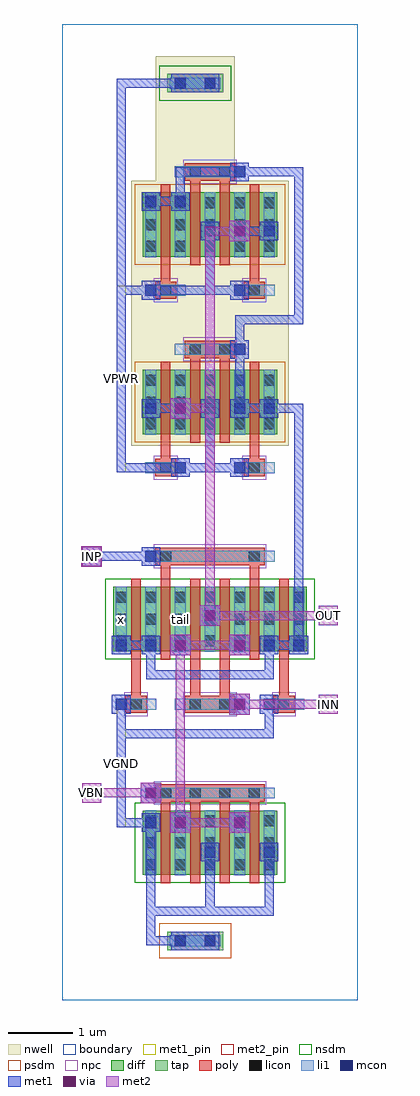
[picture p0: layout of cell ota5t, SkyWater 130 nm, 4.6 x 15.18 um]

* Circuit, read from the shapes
.subckt ota5t INN INP OUT VBN VGND VPWR tail x
XM1 x VGND x VGND sky130_fd_pr__nfet_01v8 w=1 l=0.15 m=2
XM2 tail VBN VGND VGND sky130_fd_pr__nfet_01v8 w=1 l=0.15 m=4
XM3 tail INP x VGND sky130_fd_pr__nfet_01v8 w=1 l=0.15 m=2
XM4 OUT INN tail VGND sky130_fd_pr__nfet_01v8 w=1 l=0.15 m=2
XM5 OUT VPWR OUT VPWR sky130_fd_pr__pfet_01v8 w=1 l=0.15 m=2
XM6 x VPWR x VPWR sky130_fd_pr__pfet_01v8 w=1 l=0.15 m=2
XM7 VPWR x OUT VPWR sky130_fd_pr__pfet_01v8 w=1 l=0.15 m=2
XM8 VPWR x x VPWR sky130_fd_pr__pfet_01v8 w=1 l=0.15 m=2
.ends

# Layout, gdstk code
import gdstk
lib = gdstk.Library(unit=1e-6, precision=1e-09)
def R(c, l, rs):  # rectangles x0, y0, x1, y1
    for r in rs: c.add(gdstk.rectangle(r[:2], r[2:], *l))
def A(c, l, x, y, w, h, nx, ny, dx, dy):  # array of equal rectangles
    R(c, l, [(x+i*dx, y+j*dy, x+i*dx+w, y+j*dy+h) for i in range(nx) for j in range(ny)])
nwell = (64, 20)
diff = (65, 20)
tap = (65, 44)
poly = (66, 20)
licon = (66, 44)
li1 = (67, 20)
mcon = (67, 44)
met1_pin = (68, 16)
met1 = (68, 20)
via = (68, 44)
met2_pin = (69, 16)
met2 = (69, 20)
nsdm = (93, 44)
psdm = (94, 20)
npc = (95, 20)
boundary = (235, 4)

ota5t = lib.new_cell('ota5t')
R(ota5t, nwell, [(1.075,8.62,3.525,12.74), (1.455,12.74,2.685,14.68)])
R(ota5t, diff, [(1.255,1.945,3.345,2.945), (0.795,5.425,3.805,6.425), (1.255,8.8,3.345,9.8), (1.255,11.56,3.345,12.56)])
R(ota5t, tap, [(1.635,0.775,2.505,1.065), (1.635,14.115,2.505,14.405)])
A(ota5t, poly, 1.535, 1.815, 0.15, 1.405, 4, 1, 0.46, 0)
R(ota5t, poly, [(1.445,3.085,3.155,3.355), (0.985,4.465,1.315,4.735), (1.905,4.465,2.695,4.735), (3.285,4.465,3.615,4.735), (1.075,4.6,1.225,6.555), (1.995,4.6,2.145,6.555), (2.455,4.6,2.605,6.555), (3.375,4.6,3.525,6.555), (1.535,5.295,1.685,6.9), (2.915,5.295,3.065,6.9), (1.445,6.765,3.155,7.035), (1.445,8.145,1.775,8.415), (2.825,8.145,3.155,8.415), (1.535,8.28,1.685,9.93), (2.915,8.28,3.065,9.93), (1.995,8.67,2.145,10.12), (2.455,8.67,2.605,10.12), (1.905,9.985,2.695,10.255), (1.445,10.905,1.775,11.175), (2.825,10.905,3.155,11.175), (1.535,11.04,1.685,12.69), (2.915,11.04,3.065,12.69), (1.995,11.43,2.145,12.88), (2.455,11.43,2.605,12.88), (1.905,12.745,2.695,13.015)])
A(ota5t, licon, 1.295, 2.02, 0.17, 0.17, 5, 3, 0.46, 0.34)
A(ota5t, licon, 1.525, 3.135, 0.17, 0.17, 4, 1, 0.46, 0)
A(ota5t, licon, 0.835, 5.5, 0.17, 0.17, 7, 3, 0.46, 0.34)
A(ota5t, licon, 1.295, 8.875, 0.17, 0.17, 5, 3, 0.46, 0.34)
A(ota5t, licon, 1.295, 11.635, 0.17, 0.17, 5, 3, 0.46, 0.34)
R(ota5t, licon, [(1.755,0.835,1.925,1.005), (2.215,0.835,2.385,1.005), (1.065,4.515,1.235,4.685), (1.985,4.515,2.155,4.685), (2.445,4.515,2.615,4.685), (3.365,4.515,3.535,4.685), (1.525,6.815,1.695,6.985), (2.905,6.815,3.075,6.985), (1.525,8.195,1.695,8.365), (2.905,8.195,3.075,8.365), (1.985,10.035,2.155,10.205), (2.445,10.035,2.615,10.205), (1.525,10.955,1.695,11.125), (2.905,10.955,3.075,11.125), (1.985,12.795,2.155,12.965), (2.445,12.795,2.615,12.965), (1.755,14.175,1.925,14.345), (2.215,14.175,2.385,14.345)])
A(ota5t, li1, 1.295, 1.94, 0.17, 1.01, 5, 2, 0.46, 6.855)
A(ota5t, li1, 0.835, 5.42, 0.17, 1.01, 7, 1, 0.46, 0)
A(ota5t, li1, 1.295, 11.555, 0.17, 1.01, 5, 1, 0.46, 0)
R(ota5t, li1, [(1.675,0.835,2.465,1.005), (1.295,3.135,3.305,3.305), (0.835,4.515,1.465,4.685), (1.755,4.515,2.845,4.685), (3.135,4.515,3.765,4.685), (1.295,6.815,3.305,6.985), (1.295,8.195,1.925,8.365), (2.675,8.195,3.305,8.365), (1.755,10.035,2.845,10.205), (1.295,10.955,1.925,11.125), (2.675,10.955,3.305,11.125), (1.755,12.795,2.845,12.965), (1.675,14.175,2.465,14.345)])
A(ota5t, mcon, 0.835, 5.435, 0.17, 0.17, 3, 1, 0.46, 0)
A(ota5t, mcon, 2.675, 5.435, 0.17, 0.17, 3, 1, 0.46, 0)
A(ota5t, mcon, 1.295, 9.115, 0.17, 0.17, 5, 1, 0.46, 0)
A(ota5t, mcon, 2.215, 11.875, 0.17, 0.17, 3, 1, 0.46, 0)
R(ota5t, mcon, [(1.755,0.835,1.925,1.005), (2.215,0.835,2.385,1.005), (2.215,2.215,2.385,2.385), (3.135,2.215,3.305,2.385), (1.295,2.675,1.465,2.845), (1.755,2.675,1.925,2.845), (2.675,2.675,2.845,2.845), (1.295,3.135,1.465,3.305), (0.835,4.515,1.005,4.685), (2.675,4.515,2.845,4.685), (3.135,4.515,3.305,4.685), (2.215,5.895,2.385,6.065), (1.295,6.815,1.465,6.985), (1.755,8.195,1.925,8.365), (2.675,8.195,2.845,8.365), (2.675,10.035,2.845,10.205), (1.295,10.955,1.465,11.125), (2.675,10.955,2.845,11.125), (1.295,12.335,1.465,12.505), (1.755,12.335,1.925,12.505), (2.675,12.795,2.845,12.965), (1.755,14.175,1.925,14.345), (2.215,14.175,2.385,14.345)])
R(ota5t, met1_pin, [(0.85,2.69,0.99,4.67), (0.85,8.21,0.99,11.11)])
A(ota5t, met1, 0.775, 5.375, 0.29, 0.29, 3, 1, 0.46, 0)
A(ota5t, met1, 2.615, 5.375, 0.29, 0.29, 3, 1, 0.46, 0)
A(ota5t, met1, 1.235, 9.055, 0.29, 0.29, 5, 1, 0.46, 0)
A(ota5t, met1, 2.155, 11.815, 0.29, 0.29, 3, 1, 0.46, 0)
R(ota5t, met1, [(1.695,0.775,2.445,1.065), (1.31,0.85,1.45,2.83), (1.31,0.85,1.91,0.99), (1.77,0.85,1.91,0.99), (1.31,1.31,2.37,1.45), (2.23,1.31,3.29,1.45), (2.23,1.31,2.37,2.37), (3.15,1.31,3.29,2.37), (2.155,2.155,2.445,2.445), (3.075,2.155,3.365,2.445), (1.68,2.6,2,2.92), (2.6,2.6,2.92,2.92), (1.235,2.615,1.525,2.905), (1.695,2.615,1.985,2.905), (2.615,2.615,2.905,2.905), (0.85,2.69,0.99,4.67), (0.85,2.69,1.45,2.83), (1.22,3.06,1.54,3.38), (1.235,3.075,1.525,3.365), (0.85,4.07,3.29,4.21), (3.15,4.07,3.29,4.67), (2.6,4.44,2.92,4.76), (0.775,4.455,1.065,4.745), (2.615,4.455,2.905,4.745), (3.075,4.455,3.365,4.745), (1.31,4.99,1.45,5.59), (1.31,4.99,3.29,5.13), (3.15,4.99,3.29,5.59), (1.68,5.36,2,5.68), (2.6,5.36,2.92,5.68), (0.85,5.45,1.45,5.59), (3.15,5.45,3.75,5.59), (3.61,5.45,3.75,9.27), (2.14,5.82,2.46,6.14), (2.155,5.835,2.445,6.125), (0.3,6.74,0.62,7.06), (1.235,6.755,1.525,7.045), (0.39,6.83,1.45,6.97), (1.695,8.135,1.985,8.425), (2.615,8.135,2.905,8.425), (0.85,8.21,1.91,8.35), (0.85,8.21,0.99,11.11), (1.77,8.21,2.83,8.35), (2.23,8.21,2.37,9.27), (1.68,9.04,2,9.36), (1.31,9.13,1.91,9.27), (2.69,9.13,3.29,9.27), (2.69,9.13,2.83,10.19), (3.15,9.13,3.75,9.27), (2.615,9.975,2.905,10.265), (2.69,10.05,2.83,10.65), (2.69,10.51,3.75,10.65), (3.61,10.51,3.75,12.95), (1.235,10.895,1.525,11.185), (2.615,10.895,2.905,11.185), (0.85,10.97,1.45,11.11), (0.85,10.97,0.99,14.33), (1.31,10.97,2.83,11.11), (2.23,10.97,2.37,12.03), (2.6,11.8,2.92,12.12), (2.69,11.89,3.29,12.03), (1.235,12.275,1.525,12.565), (1.695,12.275,1.985,12.565), (1.31,12.35,1.91,12.49), (1.77,12.35,1.91,12.95), (2.615,12.735,2.905,13.025), (1.77,12.81,2.83,12.95), (2.69,12.81,3.75,12.95), (1.695,14.115,2.445,14.405), (0.85,14.19,1.91,14.33), (1.77,14.19,1.91,14.33)])
R(ota5t, via, [(1.765,2.685,1.915,2.835), (2.685,2.685,2.835,2.835), (1.305,3.145,1.455,3.295), (2.685,4.525,2.835,4.675), (1.765,5.445,1.915,5.595), (2.685,5.445,2.835,5.595), (2.225,5.905,2.375,6.055), (0.385,6.825,0.535,6.975), (1.765,9.125,1.915,9.275), (2.685,11.885,2.835,12.035)])
R(ota5t, met2_pin, [(0.31,3.07,0.61,3.37), (3.99,4.45,4.29,4.75), (3.99,5.83,4.29,6.13), (0.31,6.75,0.61,7.05)])
R(ota5t, met2, [(1.68,2.6,2,2.92), (2.6,2.6,2.92,2.92), (1.77,2.69,2.83,2.83), (1.77,2.69,1.91,5.59), (1.22,3.06,1.54,3.38), (0.31,3.07,0.61,3.37), (0.39,3.15,1.45,3.29), (0.39,3.15,0.53,3.29), (2.6,4.44,2.92,4.76), (3.99,4.45,4.29,4.75), (2.69,4.53,4.21,4.67), (4.07,4.53,4.21,4.67), (1.68,5.36,2,5.68), (2.6,5.36,2.92,5.68), (1.77,5.45,2.83,5.59), (2.14,5.82,2.46,6.14), (3.99,5.83,4.29,6.13), (2.23,5.91,4.21,6.05), (2.23,5.91,2.37,9.27), (4.07,5.91,4.21,6.05), (0.3,6.74,0.62,7.06), (0.31,6.75,0.61,7.05), (0.39,6.83,0.53,6.97), (1.68,9.04,2,9.36), (1.77,9.13,2.37,9.27), (2.23,9.13,2.37,12.03), (2.6,11.8,2.92,12.12), (2.23,11.89,2.83,12.03)])
R(ota5t, nsdm, [(1.13,1.82,3.47,3.07), (0.67,5.3,3.93,6.55), (1.51,13.99,2.63,14.53)])
R(ota5t, psdm, [(1.51,0.65,2.63,1.19), (1.13,8.675,3.47,9.925), (1.13,11.435,3.47,12.685)])
R(ota5t, npc, [(1.425,3.035,3.175,3.405), (0.965,4.415,1.335,4.785), (1.885,4.415,2.715,4.785), (3.265,4.415,3.635,4.785), (1.425,6.715,3.175,7.085), (1.425,8.095,1.795,8.465), (2.805,8.095,3.175,8.465), (1.885,9.935,2.715,10.305), (1.425,10.855,1.795,11.225), (2.805,10.855,3.175,11.225), (1.885,12.695,2.715,13.065)])
R(ota5t, boundary, [(0,0,4.6,15.18)])
ota5t.add(gdstk.Label('x', (0.92,5.925), layer=67, texttype=5))
ota5t.add(gdstk.Label('tail', (1.84,5.925), layer=67, texttype=5))
ota5t.add(gdstk.Label('VPWR', (0.92,9.66), layer=68, texttype=5))
ota5t.add(gdstk.Label('VGND', (0.92,3.68), layer=68, texttype=5))
ota5t.add(gdstk.Label('INP', (0.46,6.9), layer=69, texttype=5))
ota5t.add(gdstk.Label('INN', (4.14,4.6), layer=69, texttype=5))
ota5t.add(gdstk.Label('VBN', (0.46,3.22), layer=69, texttype=5))
ota5t.add(gdstk.Label('OUT', (4.14,5.98), layer=69, texttype=5))
ota5t.add(gdstk.Label('VPWR', (0.92,9.66), layer=68, texttype=16))
ota5t.add(gdstk.Label('VGND', (0.92,3.68), layer=68, texttype=16))
ota5t.add(gdstk.Label('INP', (0.46,6.9), layer=69, texttype=16))
ota5t.add(gdstk.Label('INN', (4.14,4.6), layer=69, texttype=16))
ota5t.add(gdstk.Label('VBN', (0.46,3.22), layer=69, texttype=16))
ota5t.add(gdstk.Label('OUT', (4.14,5.98), layer=69, texttype=16))

lib.write_gds('ota5t.gds')
